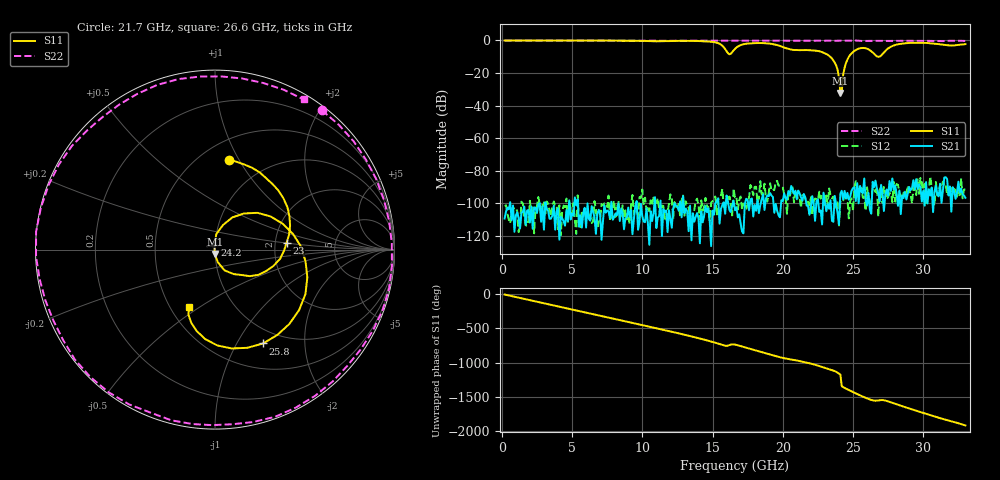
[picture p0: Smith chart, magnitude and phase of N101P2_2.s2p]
# GHZ S RI R 50
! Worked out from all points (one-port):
!   329 points, 200 MHz to 33 GHz, reference 50 ohm
!   lowest |S11| = -32.2 dB at 24.1 GHz (marker M1), VSWR 1.05, Z = 49.8 - j2.43 ohm
!   |S11| at or under -10 dB: 23.37 GHz to 24.71 GHz (1.333 GHz wide, 5.55 % of centre); 26.78265 GHz to 26.83723 GHz (54.58 MHz wide, 0.204 % of centre)
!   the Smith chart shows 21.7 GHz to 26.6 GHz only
!   S11 on the Smith chart (normalised r, x): 21.7 GHz: 0.68, +0.91; 23 GHz: 2.31, +0.20; 24.2 GHz: 0.99, +0.05; 25.8 GHz: 0.81, -1.29; 26.6 GHz: 0.62, -0.46
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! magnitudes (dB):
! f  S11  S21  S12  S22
! 200 MHz  0.0  -109.3  -101.7  0.0
! 5.7 GHz  0.0  -114.9  -104.8  -0.1
! 11.2 GHz  -0.5  -107.9  -103.5  -0.2
! 15.2 GHz  -1.2  -100.1  -95.8  -0.1
! 16.2 GHz  -8.5  -104.1  -95.8  -0.2
! 16.6 GHz  -5.1  -104.3  -96.5  -0.2
! 18.5 GHz  -1.6  -97.5  -94.7  -0.1
! 21.7 GHz  -5.9  -101.5  -99.2  -0.2
! 22.1 GHz  -6.1  -95.6  -107.3  -0.2
! 23 GHz  -8.0  -99.3  -101.1  -0.2
! 23.8 GHz  -15.3  -100.8  -102.1  -0.2
! 24 GHz  -22.9  -113.1  -113.6  -0.2
! 24.1 GHz  -32.2  -94.1  -98.9  -0.1
! 24.2 GHz  -31.1  -92.3  -98.1  -0.1
! 24.3 GHz  -21.1  -97.5  -98.8  -0.1
! 24.4 GHz  -16.8  -92.4  -92.9  -0.1
! 24.7 GHz  -10.1  -97.9  -109.3  -0.1
! 25.8 GHz  -4.6  -84.8  -96.1  -0.3
! 26.6 GHz  -9.1  -86.1  -93.1  -0.3
! 27.6 GHz  -4.3  -86.4  -93.9  -0.3
! 29.1 GHz  -1.5  -92.0  -94.4  -0.2
! 33 GHz  -2.2  -96.6  -91.5  -0.3
